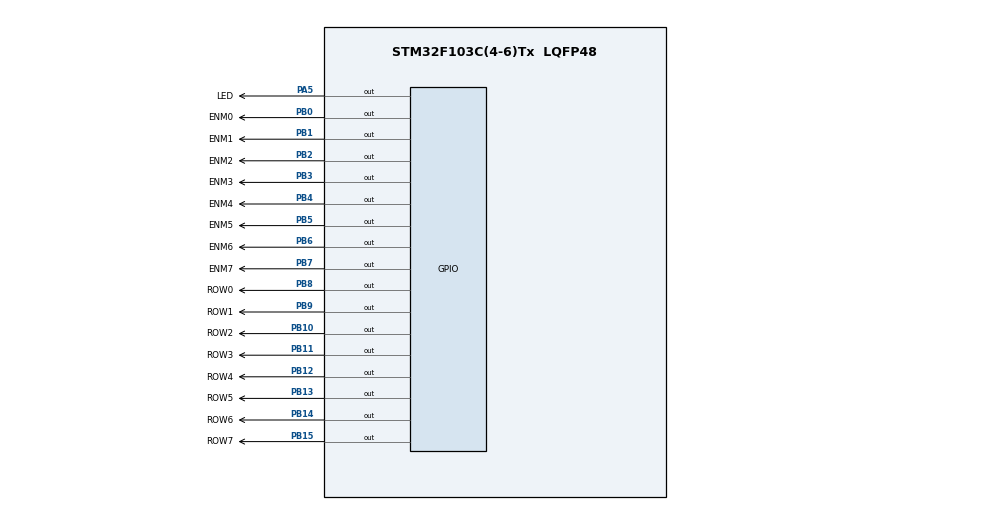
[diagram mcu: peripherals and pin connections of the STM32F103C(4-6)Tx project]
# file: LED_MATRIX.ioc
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Mcu.Family=STM32F1
Mcu.Name=STM32F103C(4-6)Tx
Mcu.Package=LQFP48
NVIC.PriorityGroup=NVIC_PRIORITYGROUP_4
NVIC.TIM2_IRQn=true\:0\:0\:false\:false\:true\:true\:true\:true
PA5.GPIO_Label=LED
PA5.Signal=GPIO_Output
PB0.GPIO_Label=ENM0
PB0.Signal=GPIO_Output
PB1.GPIO_Label=ENM1
PB1.Signal=GPIO_Output
PB10.GPIO_Label=ROW2
PB10.Signal=GPIO_Output
PB11.GPIO_Label=ROW3
PB11.Signal=GPIO_Output
PB12.GPIO_Label=ROW4
PB12.Signal=GPIO_Output
PB13.GPIO_Label=ROW5
PB13.Signal=GPIO_Output
PB14.GPIO_Label=ROW6
PB14.Signal=GPIO_Output
PB15.GPIO_Label=ROW7
PB15.Signal=GPIO_Output
PB2.GPIO_Label=ENM2
PB2.Signal=GPIO_Output
PB3.GPIO_Label=ENM3
PB3.Signal=GPIO_Output
PB4.GPIO_Label=ENM4
PB4.Signal=GPIO_Output
PB5.GPIO_Label=ENM5
PB5.Signal=GPIO_Output
PB6.GPIO_Label=ENM6
PB6.Signal=GPIO_Output
PB7.GPIO_Label=ENM7
PB7.Signal=GPIO_Output
PB8.GPIO_Label=ROW0
PB8.Signal=GPIO_Output
PB9.GPIO_Label=ROW1
PB9.Signal=GPIO_Output
ProjectManager.HeapSize=0x200
ProjectManager.StackSize=0x400
ProjectManager.TargetToolchain=STM32CubeIDE
RCC.APB1Freq_Value=8000000
RCC.APB2Freq_Value=8000000
TIM2.Period=9
TIM2.Prescaler=7999
VP_TIM2_VS_ClockSourceINT.Mode=Internal
board=custom

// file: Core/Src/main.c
/* USER CODE BEGIN Header */
/**
  ******************************************************************************
  * @file           : main.c
  * @brief          : Main program body
  ******************************************************************************
  * @attention
  *
  * Copyright (c) 2023 STMicroelectronics.
  * All rights reserved.
  *
  * This software is licensed under terms that can be found in the LICENSE file
  * in the root directory of this software component.
  * If no LICENSE file comes with this software, it is provided AS-IS.
  *
  ******************************************************************************
  */
/* USER CODE END Header */
#include "main.h"

/* USER CODE BEGIN Includes */
#include <stdio.h>
/* USER CODE END Includes */

TIM_HandleTypeDef htim2;

void SystemClock_Config(void);
static void MX_GPIO_Init(void);
static void MX_TIM2_Init(void);

/* USER CODE BEGIN 0 */
const int TIMER_CYCLE = 10;
const int MAX_LED_MATRIX = 8;
const int MATRIX_CYCLE = 100; // divisible by TIMER_CYCLE
const int SHIFT_CYCLE = 1600; // divisible by MATRIX_CYCLE * MAX_LED_MATRIX

int timer0_counter = 0;
int timer0_flag = 0;
void setTimer0(int duration) {
	timer0_counter = duration / TIMER_CYCLE;
	timer0_flag = 0;
}
void runTimer0() {
	if (timer0_counter > 0) {
		timer0_counter --;
		if (timer0_counter == 0) timer0_flag = 1;
	}
}
int timer1_counter = 0;
int timer1_flag = 0;
void setTimer1(int duration) {
	timer1_counter = duration / TIMER_CYCLE;
	timer1_flag = 0;
}
void runTimer1() {
	if (timer1_counter > 0) {
		timer1_counter --;
		if (timer1_counter == 0) timer1_flag = 1;
	}
}
int index_led_matrix = 0;
void updateLEDMatrix(int index) {
	switch (index) {
	case 0:
		HAL_GPIO_WritePin(ENM0_GPIO_Port, ENM0_Pin, GPIO_PIN_SET);
		HAL_GPIO_WritePin(ENM1_GPIO_Port, ENM1_Pin, GPIO_PIN_RESET);
		HAL_GPIO_WritePin(ENM2_GPIO_Port, ENM2_Pin, GPIO_PIN_RESET);
		HAL_GPIO_WritePin(ENM3_GPIO_Port, ENM3_Pin, GPIO_PIN_RESET);
		HAL_GPIO_WritePin(ENM4_GPIO_Port, ENM4_Pin, GPIO_PIN_RESET);
		HAL_GPIO_WritePin(ENM5_GPIO_Port, ENM5_Pin, GPIO_PIN_RESET);
		HAL_GPIO_WritePin(ENM6_GPIO_Port, ENM6_Pin, GPIO_PIN_RESET);
		HAL_GPIO_WritePin(ENM7_GPIO_Port, ENM7_Pin, GPIO_PIN_RESET);
		break;
	case 1:
		HAL_GPIO_WritePin(ENM0_GPIO_Port, ENM0_Pin, GPIO_PIN_RESET);
		HAL_GPIO_WritePin(ENM1_GPIO_Port, ENM1_Pin, GPIO_PIN_SET);
		HAL_GPIO_WritePin(ENM2_GPIO_Port, ENM2_Pin, GPIO_PIN_RESET);
		HAL_GPIO_WritePin(ENM3_GPIO_Port, ENM3_Pin, GPIO_PIN_RESET);
		HAL_GPIO_WritePin(ENM4_GPIO_Port, ENM4_Pin, GPIO_PIN_RESET);
		HAL_GPIO_WritePin(ENM5_GPIO_Port, ENM5_Pin, GPIO_PIN_RESET);
		HAL_GPIO_WritePin(ENM6_GPIO_Port, ENM6_Pin, GPIO_PIN_RESET);
		HAL_GPIO_WritePin(ENM7_GPIO_Port, ENM7_Pin, GPIO_PIN_RESET);
		break;
	case 2:
		HAL_GPIO_WritePin(ENM0_GPIO_Port, ENM0_Pin, GPIO_PIN_RESET);
		HAL_GPIO_WritePin(ENM1_GPIO_Port, ENM1_Pin, GPIO_PIN_RESET);
		HAL_GPIO_WritePin(ENM2_GPIO_Port, ENM2_Pin, GPIO_PIN_SET);
		HAL_GPIO_WritePin(ENM3_GPIO_Port, ENM3_Pin, GPIO_PIN_RESET);
		HAL_GPIO_WritePin(ENM4_GPIO_Port, ENM4_Pin, GPIO_PIN_RESET);
		HAL_GPIO_WritePin(ENM5_GPIO_Port, ENM5_Pin, GPIO_PIN_RESET);
		HAL_GPIO_WritePin(ENM6_GPIO_Port, ENM6_Pin, GPIO_PIN_RESET);
		HAL_GPIO_WritePin(ENM7_GPIO_Port, ENM7_Pin, GPIO_PIN_RESET);
		break;
	case 3:
		HAL_GPIO_WritePin(ENM0_GPIO_Port, ENM0_Pin, GPIO_PIN_RESET);
		HAL_GPIO_WritePin(ENM1_GPIO_Port, ENM1_Pin, GPIO_PIN_RESET);
		HAL_GPIO_WritePin(ENM2_GPIO_Port, ENM2_Pin, GPIO_PIN_RESET);
		HAL_GPIO_WritePin(ENM3_GPIO_Port, ENM3_Pin, GPIO_PIN_SET);
		HAL_GPIO_WritePin(ENM4_GPIO_Port, ENM4_Pin, GPIO_PIN_RESET);
		HAL_GPIO_WritePin(ENM5_GPIO_Port, ENM5_Pin, GPIO_PIN_RESET);
		HAL_GPIO_WritePin(ENM6_GPIO_Port, ENM6_Pin, GPIO_PIN_RESET);
		HAL_GPIO_WritePin(ENM7_GPIO_Port, ENM7_Pin, GPIO_PIN_RESET);
		break;
	case 4:
		HAL_GPIO_WritePin(ENM0_GPIO_Port, ENM0_Pin, GPIO_PIN_RESET);
		HAL_GPIO_WritePin(ENM1_GPIO_Port, ENM1_Pin, GPIO_PIN_RESET);
		HAL_GPIO_WritePin(ENM2_GPIO_Port, ENM2_Pin, GPIO_PIN_RESET);
		HAL_GPIO_WritePin(ENM3_GPIO_Port, ENM3_Pin, GPIO_PIN_RESET);
		HAL_GPIO_WritePin(ENM4_GPIO_Port, ENM4_Pin, GPIO_PIN_SET);
		HAL_GPIO_WritePin(ENM5_GPIO_Port, ENM5_Pin, GPIO_PIN_RESET);
		HAL_GPIO_WritePin(ENM6_GPIO_Port, ENM6_Pin, GPIO_PIN_RESET);
		HAL_GPIO_WritePin(ENM7_GPIO_Port, ENM7_Pin, GPIO_PIN_RESET);
		break;
	case 5:
		HAL_GPIO_WritePin(ENM0_GPIO_Port, ENM0_Pin, GPIO_PIN_RESET);
		HAL_GPIO_WritePin(ENM1_GPIO_Port, ENM1_Pin, GPIO_PIN_RESET);
		HAL_GPIO_WritePin(ENM2_GPIO_Port, ENM2_Pin, GPIO_PIN_RESET);
		HAL_GPIO_WritePin(ENM3_GPIO_Port, ENM3_Pin, GPIO_PIN_RESET);
		HAL_GPIO_WritePin(ENM4_GPIO_Port, ENM4_Pin, GPIO_PIN_RESET);
		HAL_GPIO_WritePin(ENM5_GPIO_Port, ENM5_Pin, GPIO_PIN_SET);
		HAL_GPIO_WritePin(ENM6_GPIO_Port, ENM6_Pin, GPIO_PIN_RESET);
		HAL_GPIO_WritePin(ENM7_GPIO_Port, ENM7_Pin, GPIO_PIN_RESET);
		break;
	case 6:
		HAL_GPIO_WritePin(ENM0_GPIO_Port, ENM0_Pin, GPIO_PIN_RESET);
		HAL_GPIO_WritePin(ENM1_GPIO_Port, ENM1_Pin, GPIO_PIN_RESET);
		HAL_GPIO_WritePin(ENM2_GPIO_Port, ENM2_Pin, GPIO_PIN_RESET);
		HAL_GPIO_WritePin(ENM3_GPIO_Port, ENM3_Pin, GPIO_PIN_RESET);
		HAL_GPIO_WritePin(ENM4_GPIO_Port, ENM4_Pin, GPIO_PIN_RESET);
		HAL_GPIO_WritePin(ENM5_GPIO_Port, ENM5_Pin, GPIO_PIN_RESET);
		HAL_GPIO_WritePin(ENM6_GPIO_Port, ENM6_Pin, GPIO_PIN_SET);
		HAL_GPIO_WritePin(ENM7_GPIO_Port, ENM7_Pin, GPIO_PIN_RESET);
		break;
	case 7:
		HAL_GPIO_WritePin(ENM0_GPIO_Port, ENM0_Pin, GPIO_PIN_RESET);
		HAL_GPIO_WritePin(ENM1_GPIO_Port, ENM1_Pin, GPIO_PIN_RESET);
		HAL_GPIO_WritePin(ENM2_GPIO_Port, ENM2_Pin, GPIO_PIN_RESET);
		HAL_GPIO_WritePin(ENM3_GPIO_Port, ENM3_Pin, GPIO_PIN_RESET);
		HAL_GPIO_WritePin(ENM4_GPIO_Port, ENM4_Pin, GPIO_PIN_RESET);
		HAL_GPIO_WritePin(ENM5_GPIO_Port, ENM5_Pin, GPIO_PIN_RESET);
		HAL_GPIO_WritePin(ENM6_GPIO_Port, ENM6_Pin, GPIO_PIN_RESET);
		HAL_GPIO_WritePin(ENM7_GPIO_Port, ENM7_Pin, GPIO_PIN_SET);
		break;
	default:
		HAL_GPIO_WritePin(ENM0_GPIO_Port, ENM0_Pin, GPIO_PIN_RESET);
		HAL_GPIO_WritePin(ENM1_GPIO_Port, ENM1_Pin, GPIO_PIN_RESET);
		HAL_GPIO_WritePin(ENM2_GPIO_Port, ENM2_Pin, GPIO_PIN_RESET);
		HAL_GPIO_WritePin(ENM3_GPIO_Port, ENM3_Pin, GPIO_PIN_RESET);
		HAL_GPIO_WritePin(ENM4_GPIO_Port, ENM4_Pin, GPIO_PIN_RESET);
		HAL_GPIO_WritePin(ENM5_GPIO_Port, ENM5_Pin, GPIO_PIN_RESET);
		HAL_GPIO_WritePin(ENM6_GPIO_Port, ENM6_Pin, GPIO_PIN_RESET);
		HAL_GPIO_WritePin(ENM7_GPIO_Port, ENM7_Pin, GPIO_PIN_RESET);
		break;
	}
}
int matrix_buffer[8][8] = {{0,0,0,0,0,0,0,0},{0,0,0,0,0,0,0,0},
		{0,0,0,0,0,0,0,0},{0,0,0,0,0,0,0,0},{0,0,0,0,0,0,0,0},
		{0,0,0,0,0,0,0,0},{0,0,0,0,0,0,0,0},{0,0,0,0,0,0,0,0}};
void displayLEDMatrix(int index) {
	if ((matrix_buffer[0][index]) == 1)
		HAL_GPIO_WritePin(ROW0_GPIO_Port, ROW0_Pin, GPIO_PIN_SET);
	else HAL_GPIO_WritePin(ROW0_GPIO_Port, ROW0_Pin, GPIO_PIN_RESET);
	if ((matrix_buffer[1][index]) == 1)
		HAL_GPIO_WritePin(ROW1_GPIO_Port, ROW1_Pin, GPIO_PIN_SET);
	else HAL_GPIO_WritePin(ROW1_GPIO_Port, ROW1_Pin, GPIO_PIN_RESET);
	if ((matrix_buffer[2][index]) == 1)
		HAL_GPIO_WritePin(ROW2_GPIO_Port, ROW2_Pin, GPIO_PIN_SET);
	else HAL_GPIO_WritePin(ROW2_GPIO_Port, ROW2_Pin, GPIO_PIN_RESET);
	if ((matrix_buffer[3][index]) == 1)
		HAL_GPIO_WritePin(ROW3_GPIO_Port, ROW3_Pin, GPIO_PIN_SET);
	else HAL_GPIO_WritePin(ROW3_GPIO_Port, ROW3_Pin, GPIO_PIN_RESET);
	if ((matrix_buffer[4][index]) == 1)
		HAL_GPIO_WritePin(ROW4_GPIO_Port, ROW4_Pin, GPIO_PIN_SET);
	else HAL_GPIO_WritePin(ROW4_GPIO_Port, ROW4_Pin, GPIO_PIN_RESET);
	if ((matrix_buffer[5][index]) == 1)
		HAL_GPIO_WritePin(ROW5_GPIO_Port, ROW5_Pin, GPIO_PIN_SET);
	else HAL_GPIO_WritePin(ROW5_GPIO_Port, ROW5_Pin, GPIO_PIN_RESET);
	if ((matrix_buffer[6][index]) == 1)
		HAL_GPIO_WritePin(ROW6_GPIO_Port, ROW6_Pin, GPIO_PIN_SET);
	else HAL_GPIO_WritePin(ROW6_GPIO_Port, ROW6_Pin, GPIO_PIN_RESET);
	if ((matrix_buffer[7][index]) == 1)
		HAL_GPIO_WritePin(ROW7_GPIO_Port, ROW7_Pin, GPIO_PIN_SET);
	else HAL_GPIO_WritePin(ROW7_GPIO_Port, ROW7_Pin, GPIO_PIN_RESET);
	updateLEDMatrix(index);
}
void setMatrixBuffer(int arr[8][8]) {
	for (int i = 0; i < 8; i ++) {
		for (int j = 0; j < 8; j ++) {
			matrix_buffer[i][j] = arr[i][j];
		}
	}
}
void setCharacter(char chr) {
	switch (chr) {
	case '0': {
		int character0[8][8] = {{0,0,1,1,1,1,0,0},{0,1,1,0,0,1,1,0},
				{0,1,1,0,0,1,1,0},{0,1,1,0,1,1,1,0},{0,1,1,1,0,1,1,0},
				{0,1,1,0,0,1,1,0},{0,1,1,0,0,1,1,0},{0,0,1,1,1,1,0,0}};
		setMatrixBuffer(character0);
		break;
	}
	case '1': {
		int character1[8][8] = {{0,0,0,1,1,0,0,0},{0,0,1,1,1,0,0,0},
				{0,0,0,1,1,0,0,0},{0,0,0,1,1,0,0,0},{0,0,0,1,1,0,0,0},
				{0,0,0,1,1,0,0,0},{0,0,0,1,1,0,0,0},{0,0,1,1,1,1,0,0}};
		setMatrixBuffer(character1);
		break;
	}
	case '2': {
		int character2[8][8] = {{0,0,1,1,1,1,0,0},{0,1,0,0,0,1,1,0},
				{0,0,0,0,0,1,1,0},{0,0,0,0,0,1,1,0},{0,0,0,0,1,1,0,0},
				{0,0,0,1,1,0,0,0},{0,0,1,1,0,0,0,0},{0,1,1,1,1,1,1,0}};
		setMatrixBuffer(character2);
		break;
	}
	case '3': {
		int character3[8][8] = {{0,0,1,1,1,1,0,0},{0,1,0,0,0,1,1,0},
				{0,0,0,0,0,1,1,0},{0,0,0,1,1,1,0,0},{0,0,0,0,0,1,1,0},
				{0,0,0,0,0,1,1,0},{0,1,0,0,0,1,1,0},{0,0,1,1,1,1,0,0}};
		setMatrixBuffer(character3);
		break;
	}
	case '4': {
		int character4[8][8] = {{0,0,0,0,1,1,0,0},{0,0,0,1,1,1,0,0},
				{0,0,1,0,1,1,0,0},{0,0,1,0,1,1,0,0},{0,1,0,0,1,1,0,0},
				{0,1,1,1,1,1,1,0},{0,0,0,0,1,1,0,0},{0,0,0,1,1,1,1,0}};
		setMatrixBuffer(character4);
		break;
	}
	case '5': {
		int character5[8][8] = {{0,1,1,1,1,1,1,0},{0,1,1,0,0,0,0,0},
				{0,1,1,1,1,1,0,0},{0,1,0,0,0,1,1,0},{0,0,0,0,0,1,1,0},
				{0,0,0,0,0,1,1,0},{0,1,0,0,0,1,1,0},{0,0,1,1,1,1,0,0}};
		setMatrixBuffer(character5);
		break;
	}
	case '6': {
		int character6[8][8] = {{0,0,1,1,1,1,0,0},{0,1,1,0,0,0,1,0},
				{0,1,1,0,0,0,0,0},{0,1,1,1,1,1,0,0},{0,1,1,0,0,1,1,0},
				{0,1,1,0,0,1,1,0},{0,1,1,0,0,1,1,0},{0,0,1,1,1,1,0,0}};
		setMatrixBuffer(character6);
		break;
	}
	case '7': {
		int character7[8][8] = {{0,1,1,1,1,1,1,0},{0,1,0,0,0,1,1,0},
				{0,0,0,0,1,1,0,0},{0,0,0,0,1,1,0,0},{0,0,0,1,1,0,0,0},
				{0,0,0,1,1,0,0,0},{0,0,1,1,0,0,0,0},{0,0,1,1,0,0,0,0}};
		setMatrixBuffer(character7);
		break;
		}
	case '8': {
		int character8[8][8] = {{0,0,1,1,1,1,0,0},{0,1,1,0,0,1,1,0},
				{0,1,1,0,0,1,1,0},{0,0,1,1,1,1,0,0},{0,1,1,0,0,1,1,0},
				{0,1,1,0,0,1,1,0},{0,1,1,0,0,1,1,0},{0,0,1,1,1,1,0,0}};
		setMatrixBuffer(character8);
			break;
		}
	case '9': {
		int character9[8][8] = {{0,0,1,1,1,1,0,0},{0,1,1,0,0,1,1,0},
				{0,1,1,0,0,1,1,0},{0,1,1,0,0,1,1,0},{0,0,1,1,1,1,1,0},
				{0,0,0,0,0,1,1,0},{0,1,0,0,0,1,1,0},{0,0,1,1,1,1,0,0}};
		setMatrixBuffer(character9);
		break;
	}
	case 'A': {
		int characterA[8][8] = {{0,0,0,1,1,0,0,0},{0,0,1,0,0,1,0,0},
				{0,1,1,0,0,1,1,0},{0,1,1,0,0,1,1,0},{0,1,1,0,0,1,1,0},
				{0,1,1,1,1,1,1,0},{0,1,1,0,0,1,1,0},{0,1,1,0,0,1,1,0}};
		setMatrixBuffer(characterA);
		break;
	}
	case 'B': {
		int characterB[8][8] = {{0,1,1,1,1,1,0,0},{0,1,1,0,0,1,1,0},
				{0,1,1,0,0,1,1,0},{0,1,1,1,1,1,0,0},{0,1,1,0,0,1,1,0},
				{0,1,1,0,0,1,1,0},{0,1,1,0,0,1,1,0},{0,1,1,1,1,1,0,0}};
		setMatrixBuffer(characterB);
		break;
	}
	case 'C': {
		int characterC[8][8] = {{0,0,1,1,1,1,0,0},{0,1,1,0,0,1,1,0},
				{0,1,1,0,0,1,1,0},{0,1,1,0,0,0,0,0},{0,1,1,0,0,0,0,0},
				{0,1,1,0,0,1,1,0},{0,1,1,0,0,1,1,0},{0,0,1,1,1,1,0,0}};
		setMatrixBuffer(characterC);
		break;
	}
	case 'D': {
		int characterD[8][8] = {{0,1,1,1,1,1,0,0},{0,1,1,0,0,1,1,0},
				{0,1,1,0,0,1,1,0},{0,1,1,0,0,1,1,0},{0,1,1,0,0,1,1,0},
				{0,1,1,0,0,1,1,0},{0,1,1,0,0,1,1,0},{0,1,1,1,1,1,0,0}};
		setMatrixBuffer(characterD);
		break;
	}
	case 'E': {
		int characterE[8][8] = {{0,1,1,1,1,1,1,0},{0,1,1,0,0,0,0,0},
				{0,1,1,0,0,0,0,0},{0,1,1,1,1,1,0,0},{0,1,1,0,0,0,0,0},
				{0,1,1,0,0,0,0,0},{0,1,1,0,0,0,0,0},{0,1,1,1,1,1,1,0}};
		setMatrixBuffer(characterE);
		break;
	}
	case 'F': {
		int characterE[8][8] = {{0,1,1,1,1,1,1,0},{0,1,1,0,0,0,0,0},
				{0,1,1,0,0,0,0,0},{0,1,1,1,1,1,0,0},{0,1,1,0,0,0,0,0},
				{0,1,1,0,0,0,0,0},{0,1,1,0,0,0,0,0},{0,1,1,0,0,0,0,0}};
		setMatrixBuffer(characterE);
		break;
	}
	case 'G': {
		int characterG[8][8] = {{0,0,1,1,1,1,0,0},{0,1,1,0,0,1,1,0},
				{0,1,1,0,0,1,1,0},{0,1,1,0,0,0,0,0},{0,1,1,0,1,1,1,0},
				{0,1,1,0,0,1,1,0},{0,1,1,0,0,1,1,0},{0,0,1,1,1,1,0,0}};
		setMatrixBuffer(characterG);
		break;
	}
	case 'H': {
		int characterH[8][8] = {{0,1,1,0,0,1,1,0},{0,1,1,0,0,1,1,0},
				{0,1,1,0,0,1,1,0},{0,1,1,1,1,1,1,0},{0,1,1,1,1,1,1,0},
				{0,1,1,0,0,1,1,0},{0,1,1,0,0,1,1,0},{0,1,1,0,0,1,1,0}};
		setMatrixBuffer(characterH);
		break;
	}
	case 'I': {
		int characterI[8][8] = {{0,0,1,1,1,1,0,0},{0,0,0,1,1,0,0,0},
				{0,0,0,1,1,0,0,0},{0,0,0,1,1,0,0,0},{0,0,0,1,1,0,0,0},
				{0,0,0,1,1,0,0,0},{0,0,0,1,1,0,0,0},{0,0,1,1,1,1,0,0}};
		setMatrixBuffer(characterI);
		break;
	}
	case 'J': {
		int characterJ[8][8] = {{0,0,0,0,0,1,1,0},{0,0,0,0,0,1,1,0},
				{0,0,0,0,0,1,1,0},{0,0,0,0,0,1,1,0},{0,0,0,0,0,1,1,0},
				{0,1,1,0,0,1,1,0},{0,1,1,0,0,1,1,0},{0,0,1,1,1,1,0,0}};
		setMatrixBuffer(characterJ);
		break;
	}
	case 'K': {
		int characterK[8][8] = {{0,1,1,0,0,0,1,0},{0,1,1,0,0,1,0,0},
				{0,1,1,0,1,0,0,0},{0,1,1,1,0,0,0,0},{0,1,1,0,1,0,0,0},
				{0,1,1,0,0,1,0,0},{0,1,1,0,0,1,1,0},{0,1,1,0,0,1,1,0}};
		setMatrixBuffer(characterK);
		break;
	}
	case 'L': {
		int characterL[8][8] = {{0,1,1,0,0,0,0,0},{0,1,1,0,0,0,0,0},
				{0,1,1,0,0,0,0,0},{0,1,1,0,0,0,0,0},{0,1,1,0,0,0,0,0},
				{0,1,1,0,0,0,0,0},{0,1,1,0,0,0,0,0},{0,1,1,1,1,1,1,0}};
		setMatrixBuffer(characterL);
		break;
	}
	case 'M': {
		int characterM[8][8] = {{1,1,0,0,0,0,1,1},{1,1,1,0,0,1,1,1},
				{1,1,0,1,1,0,1,1},{1,1,0,0,0,0,1,1},{1,1,0,0,0,0,1,1},
				{1,1,0,0,0,0,1,1},{1,1,0,0,0,0,1,1},{1,1,0,0,0,0,1,1}};
		setMatrixBuffer(characterM);
		break;
	}
	case 'N': {
		int characterN[8][8] = {{0,1,1,0,0,1,1,0},{0,1,1,0,0,1,1,0},
				{0,1,1,1,0,1,1,0},{0,1,1,0,1,1,1,0},{0,1,1,0,0,1,1,0},
				{0,1,1,0,0,1,1,0},{0,1,1,0,0,1,1,0},{0,1,1,0,0,1,1,0}};
		setMatrixBuffer(characterN);
		break;
	}
	case 'O': {
		int characterO[8][8] = {{0,0,1,1,1,1,0,0},{0,1,1,0,0,1,1,0},
				{0,1,1,0,0,1,1,0},{0,1,1,0,0,1,1,0},{0,1,1,0,0,1,1,0},
				{0,1,1,0,0,1,1,0},{0,1,1,0,0,1,1,0},{0,0,1,1,1,1,0,0}};
		setMatrixBuffer(characterO);
		break;
	}
	case 'P': {
		int characterP[8][8] = {{0,1,1,1,1,1,0,0},{0,1,1,0,0,1,1,0},
				{0,1,1,0,0,1,1,0},{0,1,1,0,0,1,1,0},{0,1,1,1,1,1,0,0},
				{0,1,1,0,0,0,0,0},{0,1,1,0,0,0,0,0},{0,1,1,0,0,0,0,0}};
		setMatrixBuffer(characterP);
		break;
	}
	case 'Q': {
		int characterQ[8][8] = {{0,0,1,1,1,1,0,0},{0,1,1,0,0,1,1,0},
				{0,1,1,0,0,1,1,0},{0,1,1,0,0,1,1,0},{0,1,1,0,0,1,1,0},
				{0,1,1,0,1,1,1,0},{0,1,1,0,0,1,1,0},{0,0,1,1,1,1,0,1}};
		setMatrixBuffer(characterQ);
		break;
	}
	case 'R': {
		int characterR[8][8] = {{0,1,1,1,1,1,0,0},{0,1,1,0,0,1,1,0},
				{0,1,1,0,0,1,1,0},{0,1,1,0,0,1,1,0},{0,1,1,1,1,1,0,0},
				{0,1,1,0,0,1,1,0},{0,1,1,0,0,1,1,0},{0,1,1,0,0,1,1,0}};
		setMatrixBuffer(characterR);
		break;
	}
	case 'S': {
		int characterS[8][8] = {{0,0,1,1,1,1,0,0},{0,1,1,0,0,0,1,0},
				{0,1,1,0,0,0,0,0},{0,0,1,1,1,1,0,0},{0,0,0,0,0,1,1,0},
				{0,0,0,0,0,1,1,0},{0,1,0,0,0,1,1,0},{0,0,1,1,1,1,0,0}};
		setMatrixBuffer(characterS);
		break;
	}
	case 'T': {
		int characterT[8][8] = {{0,1,1,1,1,1,1,0},{0,0,0,1,1,0,0,0},
				{0,0,0,1,1,0,0,0},{0,0,0,1,1,0,0,0},{0,0,0,1,1,0,0,0},
				{0,0,0,1,1,0,0,0},{0,0,0,1,1,0,0,0},{0,0,0,1,1,0,0,0}};
		setMatrixBuffer(characterT);
		break;
	}
	case 'U': {
		int characterU[8][8] = {{0,1,1,0,0,1,1,0},{0,1,1,0,0,1,1,0},
				{0,1,1,0,0,1,1,0},{0,1,1,0,0,1,1,0},{0,1,1,0,0,1,1,0},
				{0,1,1,0,0,1,1,0},{0,1,1,0,0,1,1,0},{0,0,1,1,1,1,0,0}};
		setMatrixBuffer(characterU);
		break;
	}
	case 'V': {
		int characterV[8][8] = {{0,1,1,0,0,1,1,0},{0,1,1,0,0,1,1,0},
				{0,1,1,0,0,1,1,0},{0,1,1,0,0,1,1,0},{0,1,1,0,0,1,1,0},
				{0,1,1,0,0,1,1,0},{0,0,1,0,0,1,0,0},{0,0,0,1,1,0,0,0}};
		setMatrixBuffer(characterV);
		break;
	}
	case 'W': {
		int characterW[8][8] = {{1,1,0,0,0,0,1,1},{1,1,0,0,0,0,1,1},
				{1,1,0,1,1,0,1,1},{1,1,0,1,1,0,1,1},{1,1,0,1,1,0,1,1},
				{1,1,0,1,1,0,1,1},{1,1,1,0,0,1,1,1},{0,1,0,0,0,0,1,0}};
		setMatrixBuffer(characterW);
		break;
	}
	case 'X': {
		int characterX[8][8] = {{0,1,1,0,0,1,1,0},{0,1,1,0,0,1,1,0},
				{0,0,1,0,0,1,0,0},{0,0,0,1,1,0,0,0},{0,0,1,0,0,1,0,0},
				{0,1,1,0,0,1,1,0},{0,1,1,0,0,1,1,0},{0,1,1,0,0,1,1,0}};
		setMatrixBuffer(characterX);
		break;
	}
	case 'Y': {
		int characterY[8][8] = {{0,1,1,0,0,1,1,0},{0,1,1,0,0,1,1,0},
				{0,1,1,0,0,1,1,0},{0,0,1,0,0,1,0,0},{0,0,0,1,1,0,0,0},
				{0,0,0,1,1,0,0,0},{0,0,0,1,1,0,0,0},{0,0,0,1,1,0,0,0}};
		setMatrixBuffer(characterY);
		break;
	}
	case 'Z': {
		int characterZ[8][8] = {{0,1,1,1,1,1,1,0},{0,0,0,0,0,1,1,0},
				{0,0,0,0,0,1,0,0},{0,0,0,0,1,0,0,0},{0,0,0,1,0,0,0,0},
				{0,0,1,0,0,0,0,0},{0,1,1,0,0,0,0,0},{0,1,1,1,1,1,1,0}};
		setMatrixBuffer(characterZ);
		break;
	}
	default:
		break;
	}
}
void shiftLeft() {
	int temp[8] = {0, 1, 2, 3, 4, 5, 6, 7};
	for (int i = 0; i < 8; i ++) {
		temp[i] = matrix_buffer[i][0];
	}
	for (int i = 0; i < 8; i ++) {
		for (int j = 0; j < 7; j ++) {
			matrix_buffer[i][j] = matrix_buffer[i][j+1];
		}
	}
	for (int i = 0; i < 8; i ++) {
		matrix_buffer[i][7] = temp[i];
	}
}
void shiftRight() {
	int temp[8] = {0, 1, 2, 3, 4, 5, 6, 7};
	for (int i = 0; i < 8; i ++) {
		temp[i] = matrix_buffer[i][7];
	}
	for (int i = 0; i < 8; i ++) {
		for (int j = 7; j > 0; j --) {
			matrix_buffer[i][j] = matrix_buffer[i][j-1];
		}
	}
	for (int i = 0; i < 8; i ++) {
		matrix_buffer[i][0] = temp[i];
	}
}
/* USER CODE END 0 */

int main(void)
{

  /* MCU Configuration--------------------------------------------------------*/

  /* Reset of all peripherals, Initializes the Flash interface and the Systick. */
  HAL_Init();

  /* Configure the system clock */
  SystemClock_Config();

  /* Initialize all configured peripherals */
  MX_GPIO_Init();
  MX_TIM2_Init();
  /* USER CODE BEGIN 2 */
  HAL_TIM_Base_Start_IT(&htim2);
  /* USER CODE END 2 */

  /* Infinite loop */
  /* USER CODE BEGIN WHILE */
  HAL_GPIO_WritePin(LED_GPIO_Port, LED_Pin, GPIO_PIN_RESET);
  setTimer0(MATRIX_CYCLE);
  setTimer1(SHIFT_CYCLE);
  setCharacter('H');
  while (1)
  {
	  displayLEDMatrix(index_led_matrix);
	  if (timer0_flag == 1) {
		  index_led_matrix ++;
		  if (index_led_matrix >= MAX_LED_MATRIX) index_led_matrix = 0;
		  setTimer0(MATRIX_CYCLE);
	  }
	  if (timer1_flag == 1) {
		  shiftRight();
		  setTimer1(SHIFT_CYCLE);
	  }
    /* USER CODE END WHILE */

  }
}

void SystemClock_Config(void)
{
  RCC_OscInitTypeDef RCC_OscInitStruct = {0};
  RCC_ClkInitTypeDef RCC_ClkInitStruct = {0};

  /** Initializes the RCC Oscillators according to the specified parameters
  * in the RCC_OscInitTypeDef structure.
  */
  RCC_OscInitStruct.OscillatorType = RCC_OSCILLATORTYPE_HSI;
  RCC_OscInitStruct.HSIState = RCC_HSI_ON;
  RCC_OscInitStruct.HSICalibrationValue = RCC_HSICALIBRATION_DEFAULT;
  RCC_OscInitStruct.PLL.PLLState = RCC_PLL_NONE;
  if (HAL_RCC_OscConfig(&RCC_OscInitStruct) != HAL_OK)
  {
    Error_Handler();
  }

  /** Initializes the CPU, AHB and APB buses clocks
  */
  RCC_ClkInitStruct.ClockType = RCC_CLOCKTYPE_HCLK|RCC_CLOCKTYPE_SYSCLK
                              |RCC_CLOCKTYPE_PCLK1|RCC_CLOCKTYPE_PCLK2;
  RCC_ClkInitStruct.SYSCLKSource = RCC_SYSCLKSOURCE_HSI;
  RCC_ClkInitStruct.AHBCLKDivider = RCC_SYSCLK_DIV1;
  RCC_ClkInitStruct.APB1CLKDivider = RCC_HCLK_DIV1;
  RCC_ClkInitStruct.APB2CLKDivider = RCC_HCLK_DIV1;

  if (HAL_RCC_ClockConfig(&RCC_ClkInitStruct, FLASH_LATENCY_0) != HAL_OK)
  {
    Error_Handler();
  }
}

static void MX_TIM2_Init(void)
{

  TIM_ClockConfigTypeDef sClockSourceConfig = {0};
  TIM_MasterConfigTypeDef sMasterConfig = {0};

  htim2.Instance = TIM2;
  htim2.Init.Prescaler = 7999;
  htim2.Init.CounterMode = TIM_COUNTERMODE_UP;
  htim2.Init.Period = 9;
  htim2.Init.ClockDivision = TIM_CLOCKDIVISION_DIV1;
  htim2.Init.AutoReloadPreload = TIM_AUTORELOAD_PRELOAD_DISABLE;
  if (HAL_TIM_Base_Init(&htim2) != HAL_OK)
  {
    Error_Handler();
  }
  sClockSourceConfig.ClockSource = TIM_CLOCKSOURCE_INTERNAL;
  if (HAL_TIM_ConfigClockSource(&htim2, &sClockSourceConfig) != HAL_OK)
  {
    Error_Handler();
  }
  sMasterConfig.MasterOutputTrigger = TIM_TRGO_RESET;
  sMasterConfig.MasterSlaveMode = TIM_MASTERSLAVEMODE_DISABLE;
  if (HAL_TIMEx_MasterConfigSynchronization(&htim2, &sMasterConfig) != HAL_OK)
  {
    Error_Handler();
  }

}

static void MX_GPIO_Init(void)
{
  GPIO_InitTypeDef GPIO_InitStruct = {0};

  /* GPIO Ports Clock Enable */
  __HAL_RCC_GPIOA_CLK_ENABLE();
  __HAL_RCC_GPIOB_CLK_ENABLE();

  /*Configure GPIO pin Output Level */
  HAL_GPIO_WritePin(LED_GPIO_Port, LED_Pin, GPIO_PIN_RESET);

  /*Configure GPIO pin Output Level */
  HAL_GPIO_WritePin(GPIOB, ENM0_Pin|ENM1_Pin|ENM2_Pin|ROW2_Pin
                          |ROW3_Pin|ROW4_Pin|ROW5_Pin|ROW6_Pin
                          |ROW7_Pin|ENM3_Pin|ENM4_Pin|ENM5_Pin
                          |ENM6_Pin|ENM7_Pin|ROW0_Pin|ROW1_Pin, GPIO_PIN_RESET);

  /*Configure GPIO pin : LED_Pin */
  GPIO_InitStruct.Pin = LED_Pin;
  GPIO_InitStruct.Mode = GPIO_MODE_OUTPUT_PP;
  GPIO_InitStruct.Pull = GPIO_NOPULL;
  GPIO_InitStruct.Speed = GPIO_SPEED_FREQ_LOW;
  HAL_GPIO_Init(LED_GPIO_Port, &GPIO_InitStruct);

  /*Configure GPIO pins : ENM0_Pin ENM1_Pin ENM2_Pin ROW2_Pin
                           ROW3_Pin ROW4_Pin ROW5_Pin ROW6_Pin
                           ROW7_Pin ENM3_Pin ENM4_Pin ENM5_Pin
                           ENM6_Pin ENM7_Pin ROW0_Pin ROW1_Pin */
  GPIO_InitStruct.Pin = ENM0_Pin|ENM1_Pin|ENM2_Pin|ROW2_Pin
                          |ROW3_Pin|ROW4_Pin|ROW5_Pin|ROW6_Pin
                          |ROW7_Pin|ENM3_Pin|ENM4_Pin|ENM5_Pin
                          |ENM6_Pin|ENM7_Pin|ROW0_Pin|ROW1_Pin;
  GPIO_InitStruct.Mode = GPIO_MODE_OUTPUT_PP;
  GPIO_InitStruct.Pull = GPIO_NOPULL;
  GPIO_InitStruct.Speed = GPIO_SPEED_FREQ_LOW;
  HAL_GPIO_Init(GPIOB, &GPIO_InitStruct);

}

/* USER CODE BEGIN 4 */
void HAL_TIM_PeriodElapsedCallback (TIM_HandleTypeDef *htim) {
	runTimer0();
	runTimer1();
}
/* USER CODE END 4 */

void Error_Handler(void)
{
  __disable_irq();
  while (1)
  {
  }
}
